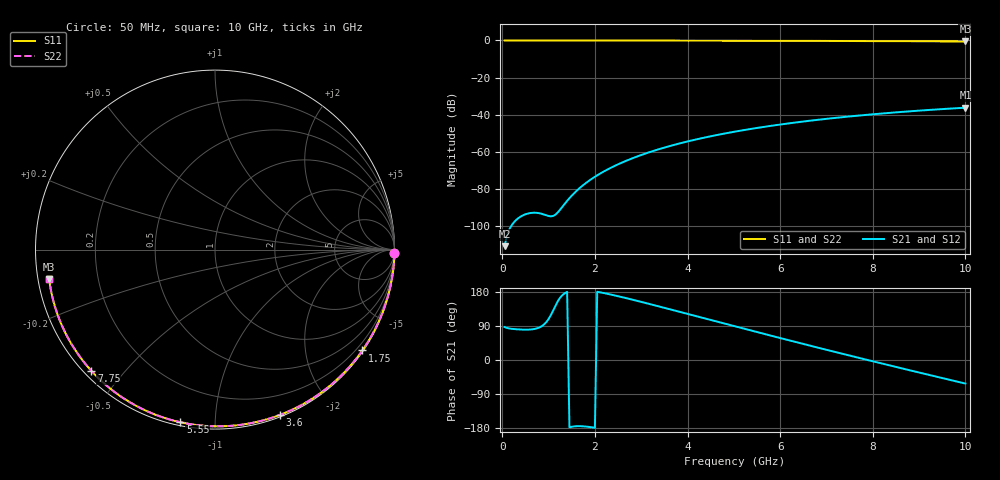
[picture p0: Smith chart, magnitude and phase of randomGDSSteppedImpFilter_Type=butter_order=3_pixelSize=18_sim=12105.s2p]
! freq	dB(S11)	phase(S11)	dB(S12)	phase(S12)
!  dB(S21)	phase(S21)	dB(S22)	phase(S22)
!S-par simulation data
#  GHz  S  DB  R 50
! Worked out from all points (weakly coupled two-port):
!   200 points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, 50 MHz to 10 GHz, reference 50 ohm
!   highest |S21| = -36.27 dB at 10 GHz (marker M1); lowest = -111.0 dB at 50 MHz (marker M2)
!   lowest |S11| = -0.6 dB at 10 GHz (marker M3), VSWR 31.49, Z = 1.6 - j4.37 ohm
!   |S11| at or under -10 dB: nowhere
!   |S22| runs from -0.6 to 0.0 dB; largest |S21 - S12| = 0
!   S11 on the Smith chart (normalised r, x): 50 MHz: open; 1.75 GHz: 0.03, -3.23; 3.6 GHz: 0.02, -1.47; 5.55 GHz: 0.02, -0.82; 7.75 GHz: 0.02, -0.41; 10 GHz: 0.03, -0.09
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0.05  -0.00 -1.0  -110.95 87.0  -110.95 87.0  -0.00 -1.0
0.45  -0.01 -9.0  -94.27 80.1  -94.27 80.1  -0.01 -9.0
0.85  -0.02 -16.9  -93.50 89.0  -93.50 89.0  -0.02 -16.9
1.25  -0.03 -24.7  -91.22 164.7  -91.22 164.7  -0.03 -24.7
1.65  -0.04 -32.5  -80.05 -174.6  -80.05 -174.6  -0.04 -32.5
1.75  -0.04 -34.4  -77.95 -175.0  -77.95 -175.0  -0.04 -34.4
1.9  -0.05 -37.2  -75.17 -177.1  -75.17 -177.1  -0.05 -37.2
2.05  -0.05 -40.1  -72.73 180.0  -72.73 180.0  -0.05 -40.1
2.25  -0.06 -43.9  -69.88 175.2  -69.88 175.2  -0.06 -43.9
2.45  -0.06 -47.6  -67.38 169.8  -67.38 169.8  -0.06 -47.6
2.9  -0.07 -55.9  -62.68 156.4  -62.68 156.4  -0.07 -55.9
3.4  -0.09 -64.9  -58.51 140.8  -58.51 140.8  -0.09 -64.9
3.6  -0.09 -68.5  -57.06 134.4  -57.06 134.4  -0.09 -68.5
4.3  -0.11 -80.6  -52.74 112.0  -52.74 112.0  -0.11 -80.6
5.05  -0.14 -93.2  -49.05 88.0  -49.05 88.0  -0.14 -93.2
5.55  -0.17 -101.3  -46.99 72.1  -46.99 72.1  -0.17 -101.3
6.1  -0.19 -110.1  -45.00 54.8  -45.00 54.8  -0.19 -110.1
6.7  -0.23 -119.4  -43.12 36.1  -43.12 36.1  -0.23 -119.4
7.75  -0.31 -135.5  -40.38 4.1  -40.38 4.1  -0.31 -135.5
8.35  -0.37 -144.6  -39.08 -13.9  -39.08 -13.9  -0.37 -144.6
9.2  -0.46 -157.5  -37.50 -38.9  -37.50 -38.9  -0.46 -157.5
10  -0.55 -170.0  -36.27 -62.2  -36.27 -62.2  -0.55 -170.0
